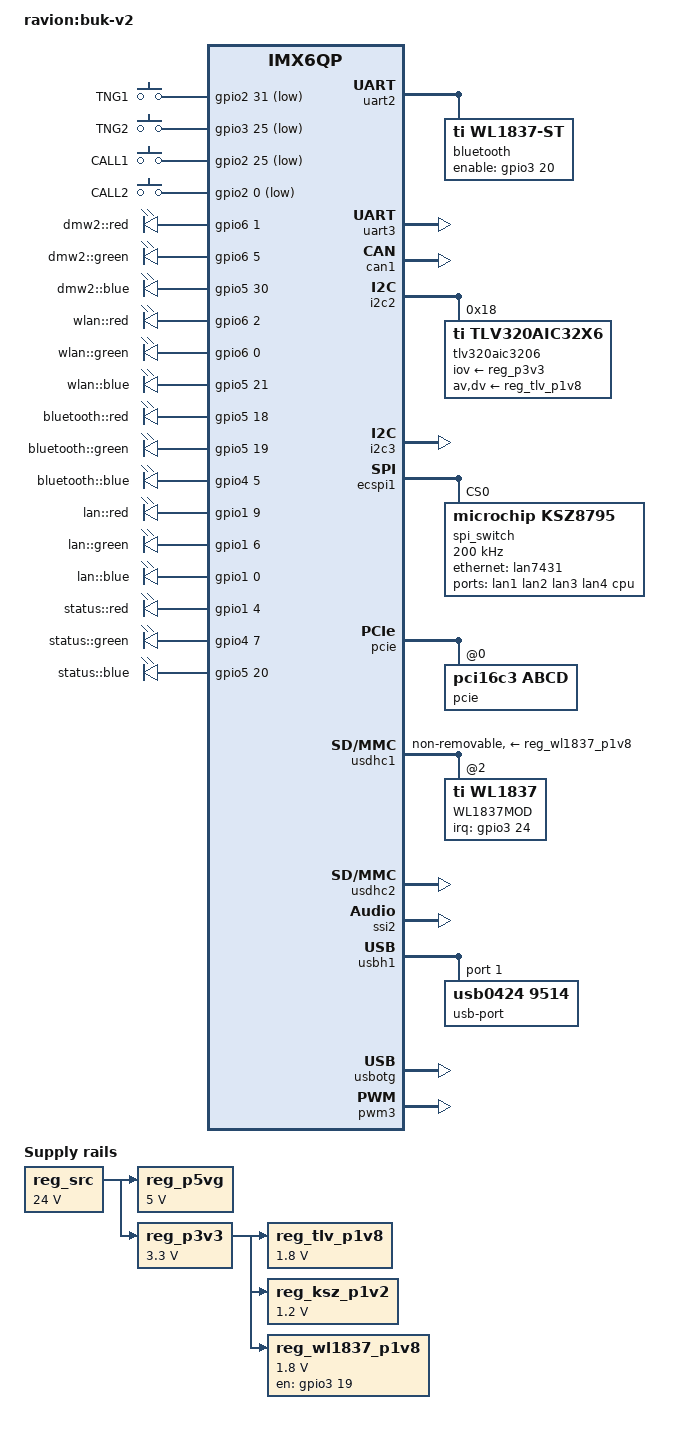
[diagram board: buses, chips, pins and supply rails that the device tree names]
/*
 * Copyright 2025 Radioavionica Corp.
 *
 * This program is free software; you can redistribute it and/or modify
 * it under the terms of the GNU General Public License version 2 as
 * published by the Free Software Foundation.
 *
 */

/dts-v1/;
#include "imx6qp.dtsi"

#define SPI_CS_GPIO
#include "imx6qdl-ravion-v2.dtsi"

/ {
	model = "ravion:buk-v2";
	compatible = "ravion,imx6qp", "fsl,imx6qp";

	/*
	 * Device specific regulators
	 */
	reg_src: regulator-power { /* HW */
			compatible = "regulator-fixed";
			regulator-name = "BS_IN";
			// fix voltage
			regulator-min-microvolt = <24000000>;
			regulator-max-microvolt = <24000000>;
			regulator-boot-on;
			regulator-always-on;
	};

	reg_p5vg: regulator-p5v { /* DA9 */
			compatible = "regulator-fixed";
			regulator-name = "P5V";
			regulator-min-microvolt = <5000000>;
			regulator-max-microvolt = <5000000>;
			vin-supply = <&reg_src>;
			regulator-boot-on;
			regulator-always-on;
	};

	reg_p3v3: regulator-p3v3 { /* DA8 */
			compatible = "regulator-fixed";
			regulator-name = "P3V3";
			regulator-min-microvolt = <3300000>;
			regulator-max-microvolt = <3300000>;
			vin-supply = <&reg_src>;
			regulator-boot-on;
			regulator-always-on;
	};

	reg_tlv_p1v8: regulator-tlv { /* DA11 */
			compatible = "regulator-fixed";
			regulator-name = "TLV-P1V8";
			regulator-min-microvolt = <1800000>;
			regulator-max-microvolt = <1800000>;
			vin-supply = <&reg_p3v3>;
			regulator-boot-on;
			regulator-always-on;
	};

	reg_ksz_p1v2: regulator-ksz-p1v2 { /* DA12 */
			compatible = "regulator-fixed";
			regulator-name = "ksz-p1v2";
			regulator-min-microvolt = <1200000>;
			regulator-max-microvolt = <1200000>;
			vin-supply = <&reg_p3v3>;
			regulator-boot-on;
			regulator-always-on;
	};

	reg_wl1837_p1v8: regulator-wl1837-p1v8 { /* DA10 */
			compatible = "regulator-fixed";
			regulator-name = "wl1837-reg";
			regulator-min-microvolt = <1800000>;
			regulator-max-microvolt = <1800000>;
			vin-supply = <&reg_p3v3>;
			gpio = <&gpio3 19 GPIO_ACTIVE_HIGH>;	/* soDimm 25 */
			startup-delay-us = <70000>;
			enable-active-high;
	};

	sound-tlv320 {
		compatible = "fsl,imx-audio-tlv320aic32x4";
		model = "ravion-tlv320aic32x6";
		ssi-controller = <&ssi2>;
		audio-codec = <&tlv320aic3206>;
		audio-routing =
			"IN1_L", "Line In Jack",
			"IN1_R", "Line In Jack",
			"IN2_L", "Line In Jack",
			"IN2_R", "Line In Jack",
			"Headphone Jack", "HPL",
			"Headphone Jack", "HPR",
			"Line Out Jack", "LOL",
			"Line Out Jack", "LOR";
		mux-int-port = <2>;
		mux-ext-port = <5>;
	};

	gpio-keys {
		compatible = "gpio-keys";

		PTT1 {
			label = "TNG1";
			gpios = <&gpio2 31 GPIO_ACTIVE_LOW>;	/* soDimm37 */
			linux,code = <KEY_F2>;
			debounce-interval = <100>;
			wakeup-source;
		};

		PTT2 {
			label = "TNG2";
			gpios = <&gpio3 25 GPIO_ACTIVE_LOW>;	/* soDimm29 */
			linux,code = <KEY_F10>;
			debounce-interval = <100>;
			wakeup-source;
		};

		CALL1 {
			label = "CALL1";
			gpios = <&gpio2 25 GPIO_ACTIVE_LOW>;	/* soDimm110 */
			linux,code = <KEY_F11>;
			debounce-interval = <100>;
			wakeup-source;
		};

		CALL2 {
			label = "CALL2";
			gpios = <&gpio2 0 GPIO_ACTIVE_LOW>;	/* soDimm111 */
			linux,code = <KEY_F12>;
			debounce-interval = <100>;
			wakeup-source;
		};
	};

	gpio-leds {
		compatible = "gpio-leds";

		DMW2_1 {
			label = "dmw2::red";
			gpios = <&gpio6 1 GPIO_ACTIVE_HIGH>;	/* soDimm160 */
			default-stat = "off";
		};

		DMW2_2 {
			label = "dmw2::green";
			gpios = <&gpio6 5 GPIO_ACTIVE_HIGH>;	/* soDimm162 */
			default-stat = "off";
		};

		DMW2_3 {
			label = "dmw2::blue";
			gpios = <&gpio5 30 GPIO_ACTIVE_HIGH>;	/* soDimm164 */
			default-stat = "off";
		};

		WLAN_1 {
			label = "wlan::red";
			gpios = <&gpio6 2 GPIO_ACTIVE_HIGH>;	/* soDimm166 */
			default-stat = "off";
		};

		WLAN_2 {
			label = "wlan::green";
			gpios = <&gpio6 0 GPIO_ACTIVE_HIGH>;	/* soDimm168 */
			default-stat = "off";
		};

		WLAN_3 {
			label = "wlan::blue";
			gpios = <&gpio5 21 GPIO_ACTIVE_HIGH>;	/* soDimm170 */
			default-stat = "off";
		};

		BT_1 {
			label = "bluetooth::red";
			gpios = <&gpio5 18 GPIO_ACTIVE_HIGH>;	/* soDimm172 */
			default-stat = "off";
		};

		BT_2 {
			label = "bluetooth::green";
			gpios = <&gpio5 19 GPIO_ACTIVE_HIGH>;	/* soDimm174 */
			default-stat = "off";
		};

		BT_3 {
			label = "bluetooth::blue";
			gpios = <&gpio4 5 GPIO_ACTIVE_HIGH>;	/* soDimm176 */
			default-stat = "off";
		};

		LAN_1 {
			label = "lan::red";
			gpios = <&gpio1 9 GPIO_ACTIVE_HIGH>;	/* soDimm178 */
			default-stat = "off";
		};

		LAN_2 {
			label = "lan::green";
			gpios = <&gpio1 6 GPIO_ACTIVE_HIGH>;	/* soDimm180 */
			default-stat = "off";
		};

		LAN_3 {
			label = "lan::blue";
			gpios = <&gpio1 0 GPIO_ACTIVE_HIGH>;	/* soDimm184 */
			default-stat = "off";
		};

		status_red {
			label = "status::red";
			gpios = <&gpio1 4 GPIO_ACTIVE_HIGH>;	/* soDimm188 */
			default-state = "off";
		};

		status_green {
			label = "status::green";
			gpios = <&gpio4 7 GPIO_ACTIVE_HIGH>;	/* soDimm190 */
			default-state = "off";
		};

		status_blue {
			label = "status::blue";
			linux,default-trigger = "heartbeat";
			gpios = <&gpio5 20 GPIO_ACTIVE_HIGH>;	/* soDimm192 */
			default-state = "on";
		};
	};
};

/*
 * Serial ports
 */
/* &uart1 {	status = "okay";	}; => Allways enabled */
&uart2 {
	uart-has-rtscts;
	status = "okay";

	bluetooth {
		enable-gpios = <&gpio3 20 GPIO_ACTIVE_HIGH>;	/* soDimm 027 */
		compatible = "ti,wl1837-st";
		clocks = <&clk_32k_bt 0>;
		clock-names = "ext_clock";
		max-speed = <3686400>;
		current-speed = <115200>;
		status = "okay";

		clk_32k_bt: bt_clk {
			compatible = "fixed-clock";
			#clock-cells = <0>;
			clock-frequency = <32768>;
			clock-accuracy = <100>;
		};
	};
};

&uart3 {
	status = "okay";
};

/*
 * Controller Area Network (CAN) Bus
 */
&can1 {
	status = "okay";
};

/*
 * I2C Busses
 */
&i2c2 {	/* Compatible I2C: soDimm 194, 196 */
	status = "okay";

	/* ext codec */
	#address-cells = <1>;
	#size-cells = <0>;
	tlv320aic3206: codec@18 {
		compatible = "ti,tlv320aic32x6";
		reg = <0x18>;
		pinctrl-names = "default";
		pinctrl-0 = <&pinctrl_ext_aud5>, <&pinctrl_clkext>;
		iov-supply = <&reg_p3v3>;
		av-supply = <&reg_tlv_p1v8>;
		dv-supply = <&reg_tlv_p1v8>;
		clocks = <&clks IMX6QDL_CLK_CKO2>; /* soDimm 137 */
		clock-names = "mclk";
	};
};

&i2c3 { /* Extended I2C: soDimm 128, 130 */
	status = "okay";
};

&ecspi1 {
	status = "okay";

	spi_switch: ksz8795clx@0 {
		compatible = "microchip,ksz8795";
		reg = <0>;
		spi-max-frequency = <200000>;
		spi_cpha;
		status = "okay"; /* Attention! Tail tagging only for port 5 */

		/*ethernet-*/ports {
			#address-cells = <1>;
			#size-cells = <0>;
			port@0 {
				reg = <0>;
				label = "lan1";
			};
			port@1 {
				reg = <1>;
				label = "lan2";
			};
			port@2 {
				reg = <2>;
				label = "lan3";
			};
			port@3 {
				reg = <3>;
				label = "lan4";
			};
			port@4 {
				reg = <4>;
				label = "cpu";
				phy-mode = "rgmii";
				rx-internal-delay-ps = <0>;
				tx-internal-delay-ps = <0>;
				ethernet = <&lan7431>;
				fixed-link {
					speed = <1000>;
					full-duplex;
				};
			};
		};
	};
};

&pcie {
	#address-cells = <0x03>;
	#size-cells = <0x02>;
	status = "okay";
	/*
		reg = <0xBBSSFF00 0 0 0 0>;
		BB - BUS number (hex)
		SS - Device/Slot number (5 bit)
		FF - Function (3 bit)
		lspci :
		01:00.0 Ethernet controller: Microchip Technology / SMSC LAN7431...
		Bus: 01, Device/Slot: 00, Function: 0
	*/
	pcie@0,0 {
		#address-cells = <0x03>;
		#size-cells = <0x02>;
		compatible ="pci16c3,abcd";
		reg = <0x00000000 0 0 0 0>;
		class-code = <0x060400>; /* bridge */
		status = "okay";

		lan7431: ethernet@1,0 {
			compatible ="pci1055,7431";
			reg = <0x01000000 0 0 0 0>;
			class-code = <0x020000>; /* network */
			phy-connection-type = "rgmii";
			status = "okay";
			fixed-link {
				speed = <1000>;
				full-duplex;
			};
		};
	};
};


&mipi_csi {
	status = "disabled";
};

/*
 * SD/MMC and eMMC controllers
 */
&usdhc1 {				   /* externed - WiFi module */
	keep-power-in-suspend;
	cap-power-off-card;
	non-removable;
	max-frequency = <25000000>;
	status = "okay";
	vmmc-supply = <&reg_wl1837_p1v8>;
	#address-cells = <1>;
	#size-cells = <0>;

	WL1837MOD: wlcore@2 {
		compatible = "ti,wl1837";
		reg = <2>;
		interrupt-parent = <&gpio3>;
		interrupts = <24 IRQ_TYPE_LEVEL_HIGH>;	/* soDim023 */
		tcxo-clock-frequency = <26000000>;
	};
};
&usdhc2 {	status = "okay";	}; /* compatible */
/* &usdhc3 {	status = "okay";	}; => eMMC allways enabled */

/*
 * Ethernet controller
 */
/* &fec {	status = "okay";	}; => eth0 allways enabled */

/*
 * Audio (digital part)
 */
/* &audmux {	status = "okay";	}; => Allways enabled */
&sgtl5000 {	status = "disabled";	};
&module_sound {	status = "disabled";	};
&ssi1	{	status = "disabled";	};
&ssi2 	{	status = "okay";	}; /* for external codec */

&usbh1 { /* Host interface - default enabled (always connected to HUB) */
	#address-cells = <1>;
	#size-cells = <0>;
	usb-port@1 {
		compatible = "usb0424,9514";
		reg = <1>;
		#address-cells = <1>;
		#size-cells = <0>;

		eth_usb: lan9514@1 {
			compatible = "usb0424,ec00";
			reg = <1>;
		};
	};
};

&usbotg	{ /* OTG */
	status = "okay";
};

/*
 * PWMs
 */
&pwm3	{	status = "okay";	};
&pwm4	{	status = "disabled";	};

&iomuxc {
	pinctrl-names = "default";
	pinctrl-0 = <&pinctrl_hog>, <&pinctrl_uart1gpio>;
};
